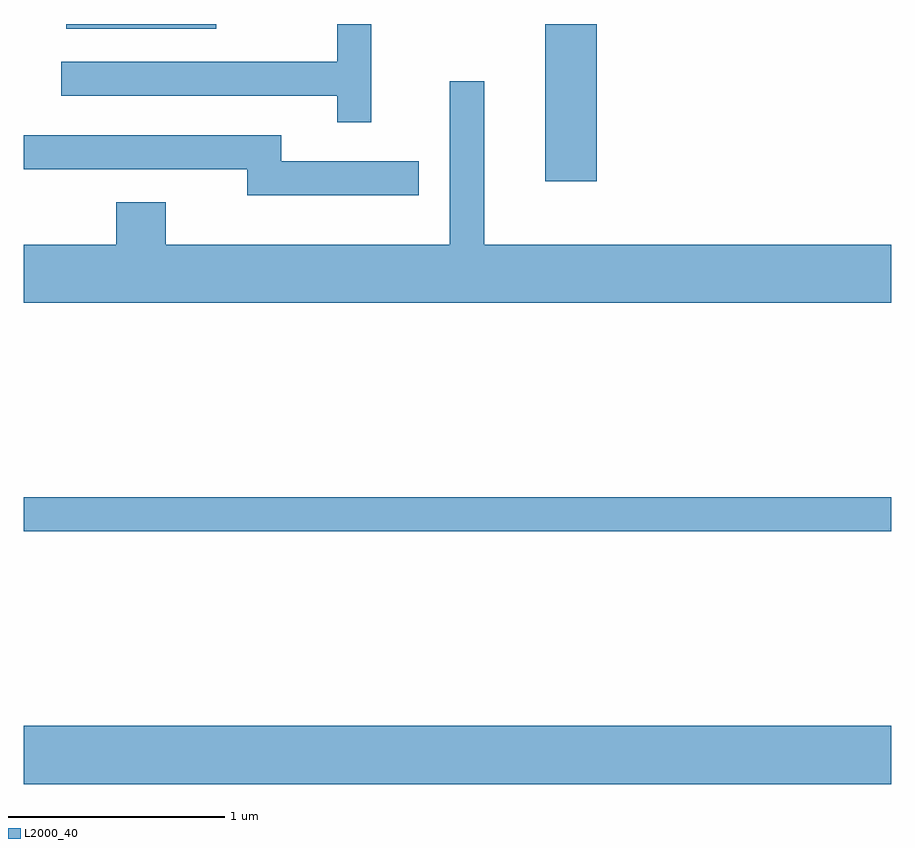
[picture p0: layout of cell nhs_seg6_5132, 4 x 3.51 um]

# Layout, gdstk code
import gdstk
lib = gdstk.Library(unit=1e-6, precision=1e-09)
def R(c, l, rs):  # rectangles x0, y0, x1, y1
    for r in rs: c.add(gdstk.rectangle(r[:2], r[2:], *l))
def P(c, l, *ps):  # polygons
    for p in ps: c.add(gdstk.Polygon(p, *l))
L2000_40 = (2000, 40)

nhs_seg6_5132 = lib.new_cell('nhs_seg6_5132')
R(nhs_seg6_5132, L2000_40, [(341.611,1596.656,345.611,1596.924), (341.611,1597.821,345.611,1597.979), (344.016,1599.436,344.254,1600.162), (341.806,1600.141,342.499,1600.162)])
P(nhs_seg6_5132, L2000_40, [(343.214,1600.162),(343.056,1600.162),(343.056,1599.989),(341.783,1599.989),(341.783,1599.831),(343.056,1599.831),(343.056,1599.708),(343.214,1599.708)],
  [(345.611,1599.144),(343.734,1599.144),(343.734,1599.898),(343.576,1599.898),(343.576,1599.144),(342.264,1599.144),(342.264,1599.339),(342.036,1599.339),(342.036,1599.144),(341.611,1599.144),(341.611,1598.876),(345.611,1598.876)],
  [(343.433,1599.529),(342.799,1599.529),(342.799,1599.649),(341.611,1599.649),(341.611,1599.491),(342.641,1599.491),(342.641,1599.371),(343.433,1599.371)])

lib.write_gds('nhs_seg6_5132.gds')
